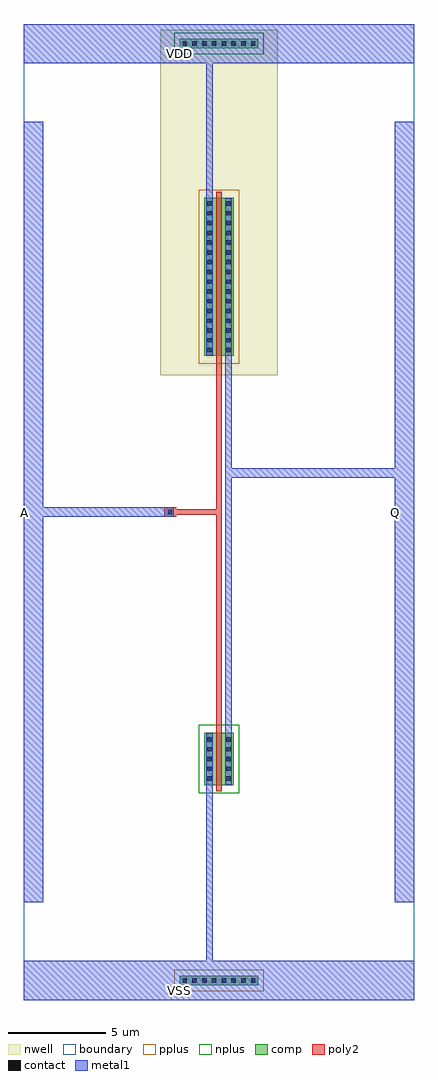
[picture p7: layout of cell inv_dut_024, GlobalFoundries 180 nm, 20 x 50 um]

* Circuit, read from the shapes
.subckt inv_dut_024 A Q VDD VSS
XM1 Q A VSS VSS nfet_03v3 w=2.7u l=0.3u
XM2 Q A VDD VDD pfet_03v3 w=8.1u l=0.3u
.ends

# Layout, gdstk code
import gdstk
lib = gdstk.Library(unit=1e-6, precision=1e-09)
def R(c, l, rs):  # rectangles x0, y0, x1, y1
    for r in rs: c.add(gdstk.rectangle(r[:2], r[2:], *l))
def A(c, l, x, y, w, h, nx, ny, dx, dy):  # array of equal rectangles
    R(c, l, [(x+i*dx, y+j*dy, x+i*dx+w, y+j*dy+h) for i in range(nx) for j in range(ny)])
boundary = (0, 0)
nwell = (21, 0)
comp = (22, 0)
poly2 = (30, 0)
pplus = (31, 0)
nplus = (32, 0)
contact = (33, 0)
metal1 = (34, 0)

inv_dut_024 = lib.new_cell('inv_dut_024')
R(inv_dut_024, boundary, [(-10,-25,10,25)])
R(inv_dut_024, nwell, [(-3,7,3,24.7)])
R(inv_dut_024, comp, [(-2,-24.25,2,-23.75), (-0.75,-14,0.75,-11.3), (-0.75,8,0.75,16.1), (-2,23.75,2,24.25)])
R(inv_dut_024, poly2, [(-0.15,-14.3,0.15,16.4), (-2.8,-0.25,-2.2,0.25), (-2.8,-0.15,-0.15,0.15)])
R(inv_dut_024, pplus, [(-2.3,-24.55,2.3,-23.45), (-1.05,7.6,1.05,16.5)])
R(inv_dut_024, nplus, [(-1.05,-14.4,1.05,-10.9), (-2.3,23.45,2.3,24.55)])
A(inv_dut_024, contact, -1.86, -24.11, 0.22, 0.22, 8, 2, 0.5, 48)
A(inv_dut_024, contact, -0.59, -13.76, 0.22, 0.22, 1, 5, 0, 0.5)
A(inv_dut_024, contact, 0.37, -13.76, 0.22, 0.22, 1, 5, 0, 0.5)
A(inv_dut_024, contact, -0.59, 8.19, 0.22, 0.22, 1, 16, 0, 0.5)
A(inv_dut_024, contact, 0.37, 8.19, 0.22, 0.22, 1, 16, 0, 0.5)
R(inv_dut_024, contact, [(-2.61,-0.11,-2.39,0.11)])
R(inv_dut_024, metal1, [(-10,-25,10,-23), (-0.65,-23,-0.31,-11.33), (-10,-20,-9,20), (9,-20,10,20), (0.31,-13.97,0.65,16.07), (-9,-0.25,-2.33,0.25), (-2.67,-0.25,-2.33,0.25), (0.31,1.75,9,2.25), (-0.65,8.03,-0.31,23), (-10,23,10,25)])
inv_dut_024.add(gdstk.Label('VDD', (-2,23.5), layer=34, texttype=10))
inv_dut_024.add(gdstk.Label('VSS', (-2,-24.5), layer=34, texttype=10))
inv_dut_024.add(gdstk.Label('A', (-9.97,0), layer=34, texttype=10))
inv_dut_024.add(gdstk.Label('Q', (9.03,0), layer=34, texttype=10))

lib.write_gds('inv_dut_024.gds')
